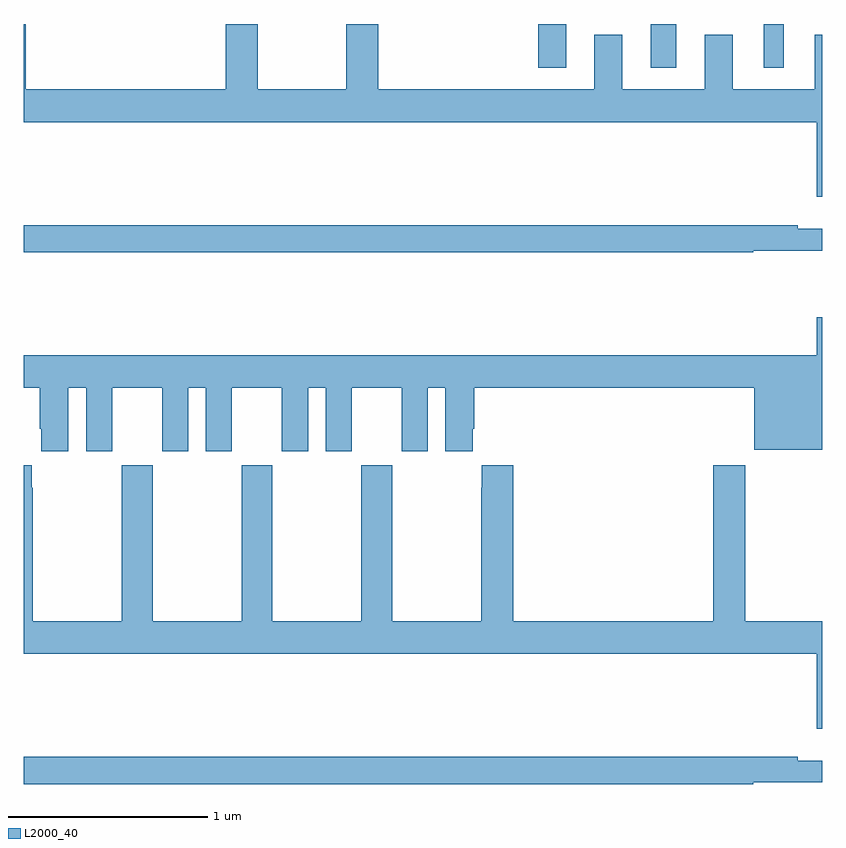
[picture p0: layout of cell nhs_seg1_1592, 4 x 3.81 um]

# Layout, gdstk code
import gdstk
lib = gdstk.Library(unit=1e-6, precision=1e-09)
def R(c, l, rs):  # rectangles x0, y0, x1, y1
    for r in rs: c.add(gdstk.rectangle(r[:2], r[2:], *l))
def P(c, l, *ps):  # polygons
    for p in ps: c.add(gdstk.Polygon(p, *l))
L2000_40 = (2000, 40)

nhs_seg1_1592 = lib.new_cell('nhs_seg1_1592')
R(nhs_seg1_1592, L2000_40, [(199.577,575.979,199.717,576.199), (200.141,575.979,200.269,576.199), (200.708,575.979,200.806,576.199)])
P(nhs_seg1_1592, L2000_40, [(201,576.145),(200.963,576.145),(200.963,575.872),(200.551,575.872),(200.551,576.145),(200.411,576.145),(200.411,575.872),(199.999,575.872),(199.999,576.145),(199.859,576.145),(199.859,575.872),(198.776,575.872),(198.776,576.199),(198.616,576.199),(198.616,575.872),(198.171,575.872),(198.171,576.199),(198.011,576.199),(198.011,575.872),(197.009,575.872),(197.009,576.199),(197,576.199),(197,575.708),(200.972,575.708),(200.972,575.334),(201,575.334)],
  [(200.655,575.064),(201,575.064),(201,575.173),(200.876,575.173),(200.876,575.192),(197,575.192),(197,575.056),(200.655,575.056)],
  [(197.224,574.376),(197.312,574.376),(197.312,574.059),(197.443,574.059),(197.443,574.376),(197.693,574.376),(197.693,574.059),(197.824,574.059),(197.824,574.376),(197.912,574.376),(197.912,574.059),(198.043,574.059),(198.043,574.376),(198.293,574.376),(198.293,574.059),(198.424,574.059),(198.424,574.376),(198.512,574.376),(198.512,574.059),(198.643,574.059),(198.643,574.376),(198.893,574.376),(198.893,574.059),(199.024,574.059),(199.024,574.376),(199.112,574.376),(199.112,574.059),(199.249,574.059),(199.249,574.171),(199.256,574.171),(199.256,574.376),(200.66,574.376),(200.66,574.067),(201,574.067),(201,574.729),(200.972,574.729),(200.972,574.54),(197,574.54),(197,574.376),(197.081,574.376),(197.081,574.171),(197.087,574.171),(197.087,574.059),(197.224,574.059)],
  [(201,573.208),(200.613,573.208),(200.613,573.988),(200.453,573.988),(200.453,573.208),(199.451,573.208),(199.451,573.988),(199.295,573.988),(199.295,573.875),(199.291,573.875),(199.291,573.208),(198.846,573.208),(198.846,573.988),(198.691,573.988),(198.691,573.208),(198.246,573.208),(198.246,573.988),(198.091,573.988),(198.091,573.208),(197.646,573.208),(197.646,573.988),(197.491,573.988),(197.491,573.208),(197.046,573.208),(197.046,573.875),(197.041,573.875),(197.041,573.988),(197,573.988),(197,573.044),(200.972,573.044),(200.972,572.67),(201,572.67)],
  [(200.655,572.4),(201,572.4),(201,572.509),(200.876,572.509),(200.876,572.528),(197,572.528),(197,572.392),(200.655,572.392)])

lib.write_gds('nhs_seg1_1592.gds')
